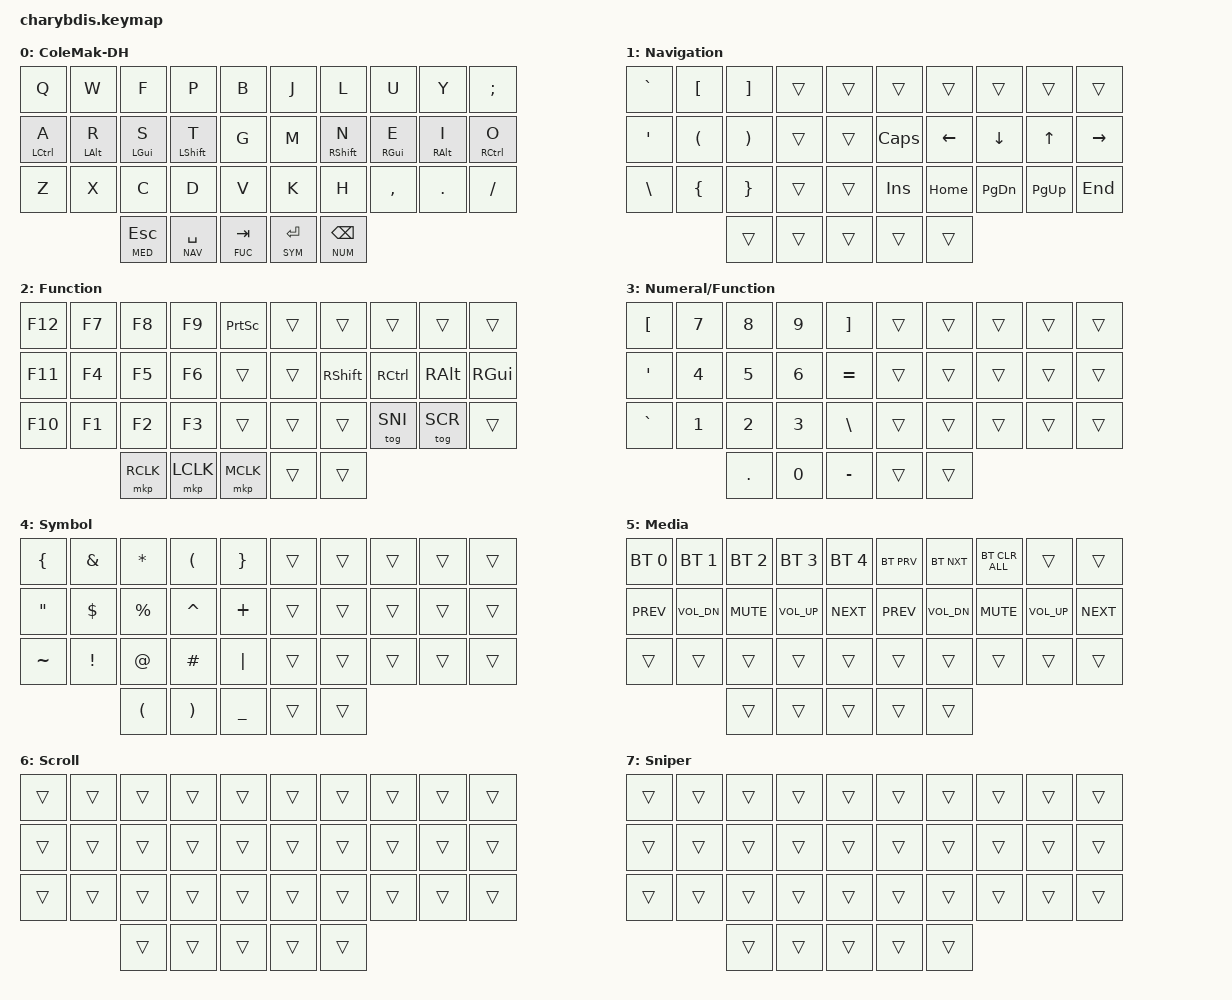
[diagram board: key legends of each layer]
#include <dt-bindings/zmk/mouse.h>
#include <behaviors/mouse_keys.dtsi>
#include <behaviors.dtsi>
#include <dt-bindings/zmk/bt.h>
#include <dt-bindings/zmk/keys.h>

#define BASE 0
#define NAV 1
#define FUC 2
#define NUM 3
#define SYM 4
#define MED 5
#define SCR 6
#define SNI 7

&sl {
  release-after-ms = <250>;
};

&mt {
    quick-tap-ms = <200>;
    global-quick-tap;
    flavor = "tap-preferred";
    tapping-term-ms = <170>;
};

/ {
    chosen { zmk,matrix_transform = &five_column_transform; };

    #include "combos.dtsi"

    behaviors {
        hml: homewrow_mods_left {
            compatible = "zmk,behavior-hold-tap";
            label = "HOMEROW_MODS_LEFT_HAND";
            bindings = <&kp>, <&kp>;

            #binding-cells = <2>;
            tapping-term-ms = <280>;
            hold-trigger-key-positions = <5 6 7 8 9 15 16 17 18 19 25 26 27 28 29 33 34>;
            flavor = "balanced";
            quick-tap-ms = <175>;
            require-prior-idle-ms = <125>;
            hold-trigger-on-release;
        };

        hmr: homewrow_mods_right {
            compatible = "zmk,behavior-hold-tap";
            label = "HOMEROW_MODS_RIGHT_HAND";
            bindings = <&kp>, <&kp>;

            #binding-cells = <2>;
            tapping-term-ms = <280>;
            hold-trigger-key-positions = <0 1 2 3 4 10 11 12 13 14 20 21 22 23 24 30 31 32>;
            flavor = "balanced";
            quick-tap-ms = <175>;
            require-prior-idle-ms = <125>;
            hold-trigger-on-release;
        };
    };


    keymap {
        compatible = "zmk,keymap";
        Base {
            label = "ColeMak-DH";
            bindings = <
                &kp Q       &kp W       &kp F           &kp P           &kp   B             &kp J           &kp L               &kp U       &kp Y       &kp SEMICOLON  
                &mt LCTRL A &mt LALT R  &mt LGUI S      &mt LSHFT  T    &kp   G             &kp M           &mt RSHFT N         &mt RGUI  E &mt RALT I  &mt RCTRL  O 
                &kp Z       &kp X       &kp C           &kp D           &kp   V             &kp K           &kp H               &kp COMMA   &kp DOT     &kp SLASH
                                        &lt MED  ESC    &lt NAV SPACE   &lt   FUC TAB       &lt SYM ENTER   &lt NUM   BACKSPACE
            >;
        };

        Navigation {
            label = "Navigation";
            bindings = <
                &kp GRAVE           &kp LEFT_BRACKET        &kp RIGHT_BRACKET       &trans      &trans          &trans        &trans       &trans         &trans      &trans
                &kp SINGLE_QUOTE    &kp LEFT_PARENTHESIS    &kp RIGHT_PARENTHESIS   &trans      &trans          &kp CAPSLOCK  &kp LEFT     &kp DOWN       &kp UP      &kp RIGHT
                &kp BACKSLASH       &kp LEFT_BRACE          &kp RIGHT_BRACE         &trans      &trans          &kp INS       &kp HOME     &kp PAGE_DOWN  &kp PAGE_UP &kp END
                                                            &trans                  &trans      &trans          &trans        &trans
            >;
        };

        Function { 
            label = "Function";
            bindings = <
                &kp F12     &kp F7      &kp F8      &kp F9      &kp PRINTSCREEN     &trans      &trans          &trans          &trans          &trans
                &kp F11     &kp F4      &kp F5      &kp F6      &trans              &trans      &kp     RSHFT   &kp     RCTRL   &kp     RALT    &kp     RGUI
                &kp F10     &kp F1      &kp F2      &kp F3      &trans              &trans      &trans          &tog    SNI     &tog    SCR     &trans
                            &mkp RCLK   &mkp LCLK   &mkp MCLK                       &trans      &trans 
            >;
        };

        Numeral {
            label = "Numeral/Function";
            bindings = <
                &kp LEFT_BRACKET    &kp N7  &kp N8  &kp N9  &kp RIGHT_BRACKET           &trans  &trans  &trans  &trans  &trans
                &kp SINGLE_QUOTE    &kp N4  &kp N5  &kp N6  &kp EQUAL                   &trans  &trans  &trans  &trans  &trans
                &kp GRAVE           &kp N1  &kp N2  &kp N3  &kp BACKSLASH               &trans  &trans  &trans  &trans  &trans
                                    &kp DOT &kp N0  &kp MINUS                           &trans  &trans
            >;
        };

        Symbol {
            label = "Symbol";
            bindings = <
              &kp LEFT_BRACE    &kp AMPS    &kp STAR                &kp LEFT_PARENTHESIS   &kp RIGHT_BRACE          &trans    &trans  &trans  &trans  &trans
              &kp DOUBLE_QUOTES &kp DLLR    &kp PRCNT               &kp CARET              &kp PLUS                 &trans    &trans  &trans  &trans  &trans
              &kp TILDE         &kp EXCL    &kp AT                  &kp HASH               &kp PIPE                 &trans    &trans  &trans  &trans  &trans
                                            &kp LEFT_PARENTHESIS    &kp RIGHT_PARENTHESIS  &kp UNDER                &trans    &trans
            >;
        };

        

        Media {
            label = "Media";
            bindings = <
              &bt BT_SEL 0  &bt BT_SEL 1    &bt BT_SEL 2    &bt BT_SEL 3    &bt BT_SEL 4            &bt BT_PRV  &bt BT_NXT    &bt BT_CLR_ALL  &trans        &trans
              &kp C_PREV    &kp C_VOL_DN    &kp C_MUTE      &kp C_VOL_UP    &kp C_NEXT              &kp C_PREV  &kp C_VOL_DN  &kp C_MUTE      &kp C_VOL_UP  &kp C_NEXT
              &trans        &trans          &trans          &trans          &trans                  &trans      &trans        &trans          &trans        &trans
                                            &trans          &trans          &trans                  &trans      &trans
            >;
        };

        

        Scroll {
            label = "Scroll";
            bindings = <
                &trans  &trans  &trans  &trans  &trans    &trans  &trans  &trans  &trans  &trans
                &trans  &trans  &trans  &trans  &trans    &trans  &trans  &trans  &trans  &trans
                &trans  &trans  &trans  &trans  &trans    &trans  &trans  &trans  &trans  &trans
                                &trans  &trans  &trans    &trans  &trans
            >;
        };

        Sniper {
            label = "Sniper";
            bindings = <
                &trans  &trans  &trans  &trans  &trans    &trans  &trans  &trans  &trans  &trans
                &trans  &trans  &trans  &trans  &trans    &trans  &trans  &trans  &trans  &trans
                &trans  &trans  &trans  &trans  &trans    &trans  &trans  &trans  &trans  &trans
                                &trans  &trans  &trans    &trans  &trans
            >;
        };
    };
};
